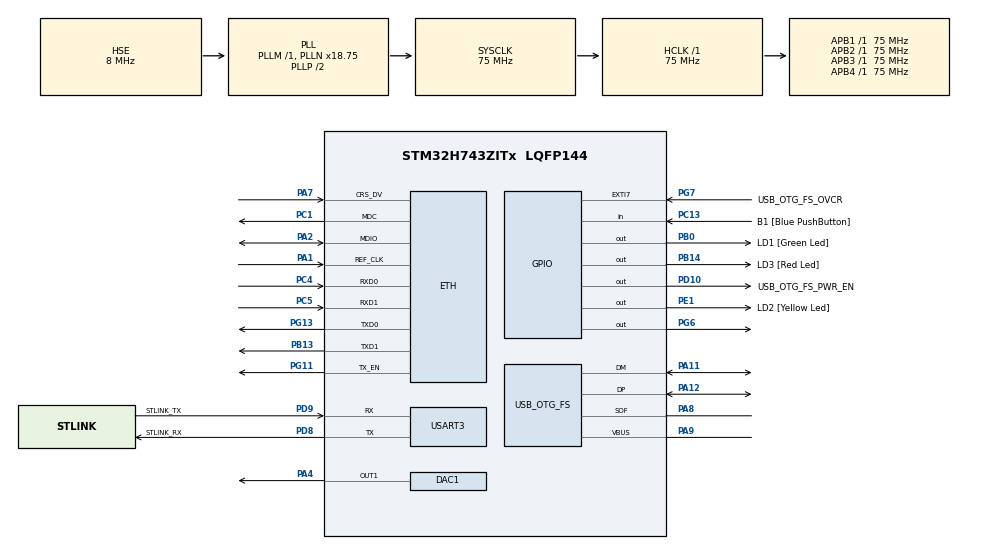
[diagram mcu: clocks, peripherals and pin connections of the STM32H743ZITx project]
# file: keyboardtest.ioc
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DAC1.DAC_Channel-DAC_OUT1=DAC_CHANNEL_1
DAC1.DAC_Trigger-DAC_OUT1=DAC_TRIGGER_T1_TRGO
Dma.DAC1_CH1.0.Direction=DMA_MEMORY_TO_PERIPH
Dma.DAC1_CH1.0.EventEnable=DISABLE
Dma.DAC1_CH1.0.FIFOMode=DMA_FIFOMODE_DISABLE
Dma.DAC1_CH1.0.Instance=DMA1_Stream0
Dma.DAC1_CH1.0.MemDataAlignment=DMA_MDATAALIGN_HALFWORD
Dma.DAC1_CH1.0.MemInc=DMA_MINC_ENABLE
Dma.DAC1_CH1.0.Mode=DMA_NORMAL
Dma.DAC1_CH1.0.PeriphDataAlignment=DMA_PDATAALIGN_HALFWORD
Dma.DAC1_CH1.0.PeriphInc=DMA_PINC_DISABLE
Dma.DAC1_CH1.0.Polarity=HAL_DMAMUX_REQ_GEN_RISING
Dma.DAC1_CH1.0.Priority=DMA_PRIORITY_LOW
Dma.DAC1_CH1.0.RequestNumber=1
Dma.DAC1_CH1.0.SignalID=NONE
Dma.DAC1_CH1.0.SyncEnable=DISABLE
Dma.DAC1_CH1.0.SyncPolarity=HAL_DMAMUX_SYNC_NO_EVENT
Dma.DAC1_CH1.0.SyncRequestNumber=1
Dma.DAC1_CH1.0.SyncSignalID=NONE
Dma.Request0=DAC1_CH1
ETH.MediaInterface=HAL_ETH_RMII_MODE
Mcu.Family=STM32H7
Mcu.Name=STM32H743ZITx
Mcu.Package=LQFP144
NVIC.DMA1_Stream0_IRQn=true\:0\:0\:false\:false\:true\:false\:true\:true
NVIC.OTG_FS_IRQn=true\:0\:0\:false\:false\:true\:true\:true\:true
NVIC.PriorityGroup=NVIC_PRIORITYGROUP_4
PA1.Mode=RMII
PA1.Signal=ETH_REF_CLK
PA11.Mode=Host_Only
PA11.Signal=USB_OTG_FS_DM
PA12.Mode=Host_Only
PA12.Signal=USB_OTG_FS_DP
PA2.Mode=RMII
PA2.Signal=ETH_MDIO
PA4.Signal=COMP_DAC11_group
PA7.Mode=RMII
PA7.Signal=ETH_CRS_DV
PA8.Mode=Activate_SOF_FS
PA8.Signal=USB_OTG_FS_SOF
PA9.Mode=Activate_VBUS
PA9.Signal=USB_OTG_FS_VBUS
PB0.GPIO_Label=LD1 [Green Led]
PB0.Signal=GPIO_Output
PB13.Mode=RMII
PB13.Signal=ETH_TXD1
PB14.GPIO_Label=LD3 [Red Led]
PB14.Signal=GPIO_Output
PC1.Mode=RMII
PC1.Signal=ETH_MDC
PC13.GPIO_Label=B1 [Blue PushButton]
PC13.Signal=GPIO_Input
PC14-OSC32_IN\ (OSC32_IN).Mode=LSE-External-Oscillator
PC14-OSC32_IN\ (OSC32_IN).Signal=RCC_OSC32_IN
PC15-OSC32_OUT\ (OSC32_OUT).Mode=LSE-External-Oscillator
PC15-OSC32_OUT\ (OSC32_OUT).Signal=RCC_OSC32_OUT
PC4.Mode=RMII
PC4.Signal=ETH_RXD0
PC5.Mode=RMII
PC5.Signal=ETH_RXD1
PD10.GPIO_Label=USB_OTG_FS_PWR_EN
PD10.Signal=GPIO_Output
PD8.GPIO_Label=STLINK_RX
PD8.Mode=Asynchronous
PD8.Signal=USART3_TX
PD9.GPIO_Label=STLINK_TX
PD9.Mode=Asynchronous
PD9.Signal=USART3_RX
PE1.GPIO_Label=LD2 [Yellow Led]
PE1.Signal=GPIO_Output
PG11.Mode=RMII
PG11.Signal=ETH_TX_EN
PG13.Mode=RMII
PG13.Signal=ETH_TXD0
PG6.Signal=GPIO_Output
PG7.GPIO_Label=USB_OTG_FS_OVCR
PG7.Signal=GPXTI7
PH0-OSC_IN\ (PH0).Mode=HSE-External-Clock-Source
PH0-OSC_IN\ (PH0).Signal=RCC_OSC_IN
PH1-OSC_OUT\ (PH1).Signal=RCC_OSC_OUT
ProjectManager.HeapSize=0x200
ProjectManager.StackSize=0x400
ProjectManager.TargetToolchain=STM32CubeIDE
RCC.ADCFreq_Value=16125000
RCC.APB1Freq_Value=75000000
RCC.APB2Freq_Value=75000000
RCC.APB3Freq_Value=75000000
RCC.APB4Freq_Value=75000000
RCC.CortexFreq_Value=75000000
RCC.DIVM1=1
RCC.DIVN1=18
RCC.DIVQ1=3
RCC.HCLKFreq_Value=75000000
RCC.HSE_VALUE=8000000
RCC.PLLFRACN=6144
RCC.PWR_Regulator_Voltage_Scale=PWR_REGULATOR_VOLTAGE_SCALE2
RCC.SYSCLKFreq_VALUE=75000000
RCC.SYSCLKSource=RCC_SYSCLKSOURCE_PLLCLK
RCC.USBFreq_Value=50000000
SH.COMP_DAC11_group.0=DAC1_OUT1,DAC_OUT1
TIM1.Period=1600-1
TIM1.TIM_MasterOutputTrigger=TIM_TRGO_UPDATE
USART3.VirtualMode-Asynchronous=VM_ASYNC
USB_HOST.BSP.number=1
USB_HOST.USBH_HandleTypeDef-HID_FS=hUsbHostFS
USB_HOST.VirtualModeFS=Hid
USB_HOST0.BSP.STBoard=false
USB_HOST0.BSP.api=Unknown
USB_HOST0.BSP.instance=PG6
USB_HOST0.BSP.ip=GPIO
USB_HOST0.BSP.mode=Output
USB_HOST0.BSP.name=Drive_VBUS_FS
USB_HOST0.BSP.solution=PG6
USB_OTG_FS.VirtualMode=Host_Only
USB_OTG_FS.phy_itface=HCD_PHY_EMBEDDED
VP_TIM1_VS_ClockSourceINT.Mode=Internal
VP_USB_HOST_VS_USB_HOST_HID_FS.Mode=HID_FS
board=NUCLEO-H743ZI2

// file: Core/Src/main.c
/* USER CODE BEGIN Header */
/**
  ******************************************************************************
  * @file           : main.c
  * @brief          : Main program body
  ******************************************************************************
  * @attention
  *
  * Copyright (c) 2023 STMicroelectronics.
  * All rights reserved.
  *
  * This software is licensed under terms that can be found in the LICENSE file
  * in the root directory of this software component.
  * If no LICENSE file comes with this software, it is provided AS-IS.
  *
  ******************************************************************************
  */
/* USER CODE END Header */
#include "main.h"
#include "string.h"
#include "usb_host.h"

/* USER CODE BEGIN Includes */
#include "usbh_hid.h"
#include "notes.h"
#include "keybd.h"
/* USER CODE END Includes */

#if defined ( __ICCARM__ ) /*!< IAR Compiler */
#pragma location=0x30000000
ETH_DMADescTypeDef  DMARxDscrTab[ETH_RX_DESC_CNT]; /* Ethernet Rx DMA Descriptors */
#pragma location=0x30000200
ETH_DMADescTypeDef  DMATxDscrTab[ETH_TX_DESC_CNT]; /* Ethernet Tx DMA Descriptors */

#elif defined ( __CC_ARM )  /* MDK ARM Compiler */

__attribute__((at(0x30000000))) ETH_DMADescTypeDef  DMARxDscrTab[ETH_RX_DESC_CNT]; /* Ethernet Rx DMA Descriptors */
__attribute__((at(0x30000200))) ETH_DMADescTypeDef  DMATxDscrTab[ETH_TX_DESC_CNT]; /* Ethernet Tx DMA Descriptors */

#elif defined ( __GNUC__ ) /* GNU Compiler */
ETH_DMADescTypeDef DMARxDscrTab[ETH_RX_DESC_CNT] __attribute__((section(".RxDecripSection"))); /* Ethernet Rx DMA Descriptors */
ETH_DMADescTypeDef DMATxDscrTab[ETH_TX_DESC_CNT] __attribute__((section(".TxDecripSection")));   /* Ethernet Tx DMA Descriptors */

#endif

ETH_TxPacketConfig TxConfig;

DAC_HandleTypeDef hdac1;
DMA_HandleTypeDef hdma_dac1_ch1;

ETH_HandleTypeDef heth;

TIM_HandleTypeDef htim1;

UART_HandleTypeDef huart3;

void SystemClock_Config(void);
static void MX_GPIO_Init(void);
static void MX_ETH_Init(void);
static void MX_USART3_UART_Init(void);
static void MX_DAC1_Init(void);
static void MX_DMA_Init(void);
static void MX_TIM1_Init(void);
void MX_USB_HOST_Process(void);

/* USER CODE BEGIN 0 */
#define SAMP_RATE 46875
#define DAC_BUF_SIZE 2048
#define WAVETABLE_SIZE 1874
#define SAMP_TIME 21.333333 //us

struct NOTE {
	float start;
	float end;
	float pitch;
};

extern int wavetable[WAVETABLE_SIZE];
int key_pressed = 0;
uint16_t DAC_buff[DAC_BUF_SIZE] ={};
char key_names[] = "zsxcfvgbnjmk,l./";
struct NOTE note_store[500];
int key_tracker[16] = {0};

uint16_t sine_test[64] = {
		2048,2248,2447,2642,2831,3013,3185,3346,
		3495,3630,3750,3853,3939,4007,4056,4085,
		4095,4085,4056,4007,3939,3853,3750,3630,
		3495,3346,3185,3013,2831,2642,2447,2248,
		2048,1847,1648,1453,1264,1082,910,749,
		600,465,345,242,156,88,39,10,
		0,10,39,88,156,242,345,465,
		600,749,910,1082,1264,1453,1648,1847};

void USBH_HID_EventCallback(USBH_HandleTypeDef *phost)
{
	uint8_t key;
	HID_KEYBD_Info_TypeDef *Keyboard_Info;
	Keyboard_Info = USBH_HID_GetKeybdInfo(phost);  // get the info
	key = USBH_HID_GetASCIICode(Keyboard_Info);  // get the key pressed
	get_all_keys(Keyboard_Info, key_tracker);
	//printf ("Key Pressed = %c\n", key);
	printf("Keys Pressed: \n");
	for(int i = 0; i < 16; i++){
			if(key_tracker[i] == 1){
				printf("%c ",key_names[i]);
			}
		}
		printf(" \n");
	for(int i = 0; i < 16; i++){
		printf("%i ",key_tracker[i]);
	}
	printf(" \n");
	for(int i = 0; i < 16; i++){
		if(key_tracker[i] == 1){
			key_pressed = 1;
			return;
		}
	}
	key_pressed=0;

}

int linear_interpolate(float index){
	int index_floor = floor(index);
	int index_next = (index_floor + 1) % WAVETABLE_SIZE;
	float index_next_weight = index - index_floor;
	float index_floor_weight = 1.0 - index_next_weight;

	return floor(index_floor_weight*wavetable[index_floor] + index_next_weight*wavetable[index_next]);
}

void fill_dac(){
	for(int i = 0; i < WAVETABLE_SIZE; i++){
		DAC_buff[i] = sine_test[i%64];
		if(key_pressed == 0){
			break;
		}
	}
}

void clear_dac(){
	memset(DAC_buff, 0, sizeof DAC_buff);
}
/* USER CODE END 0 */

int main(void)
{

  /* MCU Configuration--------------------------------------------------------*/

  /* Reset of all peripherals, Initializes the Flash interface and the Systick. */
  HAL_Init();

  /* Configure the system clock */
  SystemClock_Config();

  /* Initialize all configured peripherals */
  MX_GPIO_Init();
  MX_ETH_Init();
  MX_USART3_UART_Init();
  MX_USB_HOST_Init();
  MX_DAC1_Init();
  MX_DMA_Init();
  MX_TIM1_Init();
  /* USER CODE BEGIN 2 */
  printf("Hello world\n");
  HAL_TIM_Base_Start(&htim1);
  HAL_DAC_Start_DMA(&hdac1, DAC_CHANNEL_1, DAC_buff, DAC_BUF_SIZE, DAC_ALIGN_12B_R);
  /* USER CODE END 2 */

  /* Infinite loop */
  while (1)
  {
    MX_USB_HOST_Process();
//    switch(key_pressed){
//		case 0:
//			clear_dac();
//			break;
//		case 1:
//			fill_dac();
//			break;
//    }
  }
}

void SystemClock_Config(void)
{
  RCC_OscInitTypeDef RCC_OscInitStruct = {0};
  RCC_ClkInitTypeDef RCC_ClkInitStruct = {0};

  /** Supply configuration update enable
  */
  HAL_PWREx_ConfigSupply(PWR_LDO_SUPPLY);

  /** Configure the main internal regulator output voltage
  */
  __HAL_PWR_VOLTAGESCALING_CONFIG(PWR_REGULATOR_VOLTAGE_SCALE2);

  while(!__HAL_PWR_GET_FLAG(PWR_FLAG_VOSRDY)) {}

  /** Initializes the RCC Oscillators according to the specified parameters
  * in the RCC_OscInitTypeDef structure.
  */
  RCC_OscInitStruct.OscillatorType = RCC_OSCILLATORTYPE_HSE;
  RCC_OscInitStruct.HSEState = RCC_HSE_BYPASS;
  RCC_OscInitStruct.PLL.PLLState = RCC_PLL_ON;
  RCC_OscInitStruct.PLL.PLLSource = RCC_PLLSOURCE_HSE;
  RCC_OscInitStruct.PLL.PLLM = 1;
  RCC_OscInitStruct.PLL.PLLN = 18;
  RCC_OscInitStruct.PLL.PLLP = 2;
  RCC_OscInitStruct.PLL.PLLQ = 3;
  RCC_OscInitStruct.PLL.PLLR = 2;
  RCC_OscInitStruct.PLL.PLLRGE = RCC_PLL1VCIRANGE_3;
  RCC_OscInitStruct.PLL.PLLVCOSEL = RCC_PLL1VCOMEDIUM;
  RCC_OscInitStruct.PLL.PLLFRACN = 6144;
  if (HAL_RCC_OscConfig(&RCC_OscInitStruct) != HAL_OK)
  {
    Error_Handler();
  }

  /** Initializes the CPU, AHB and APB buses clocks
  */
  RCC_ClkInitStruct.ClockType = RCC_CLOCKTYPE_HCLK|RCC_CLOCKTYPE_SYSCLK
                              |RCC_CLOCKTYPE_PCLK1|RCC_CLOCKTYPE_PCLK2
                              |RCC_CLOCKTYPE_D3PCLK1|RCC_CLOCKTYPE_D1PCLK1;
  RCC_ClkInitStruct.SYSCLKSource = RCC_SYSCLKSOURCE_PLLCLK;
  RCC_ClkInitStruct.SYSCLKDivider = RCC_SYSCLK_DIV1;
  RCC_ClkInitStruct.AHBCLKDivider = RCC_HCLK_DIV1;
  RCC_ClkInitStruct.APB3CLKDivider = RCC_APB3_DIV1;
  RCC_ClkInitStruct.APB1CLKDivider = RCC_APB1_DIV1;
  RCC_ClkInitStruct.APB2CLKDivider = RCC_APB2_DIV1;
  RCC_ClkInitStruct.APB4CLKDivider = RCC_APB4_DIV1;

  if (HAL_RCC_ClockConfig(&RCC_ClkInitStruct, FLASH_LATENCY_1) != HAL_OK)
  {
    Error_Handler();
  }
}

static void MX_DAC1_Init(void)
{

  DAC_ChannelConfTypeDef sConfig = {0};

  /** DAC Initialization
  */
  hdac1.Instance = DAC1;
  if (HAL_DAC_Init(&hdac1) != HAL_OK)
  {
    Error_Handler();
  }

  /** DAC channel OUT1 config
  */
  sConfig.DAC_SampleAndHold = DAC_SAMPLEANDHOLD_DISABLE;
  sConfig.DAC_Trigger = DAC_TRIGGER_T1_TRGO;
  sConfig.DAC_OutputBuffer = DAC_OUTPUTBUFFER_ENABLE;
  sConfig.DAC_ConnectOnChipPeripheral = DAC_CHIPCONNECT_DISABLE;
  sConfig.DAC_UserTrimming = DAC_TRIMMING_FACTORY;
  if (HAL_DAC_ConfigChannel(&hdac1, &sConfig, DAC_CHANNEL_1) != HAL_OK)
  {
    Error_Handler();
  }

}

static void MX_ETH_Init(void)
{

   static uint8_t MACAddr[6];

  heth.Instance = ETH;
  MACAddr[0] = 0x00;
  MACAddr[1] = 0x80;
  MACAddr[2] = 0xE1;
  MACAddr[3] = 0x00;
  MACAddr[4] = 0x00;
  MACAddr[5] = 0x00;
  heth.Init.MACAddr = &MACAddr[0];
  heth.Init.MediaInterface = HAL_ETH_RMII_MODE;
  heth.Init.TxDesc = DMATxDscrTab;
  heth.Init.RxDesc = DMARxDscrTab;
  heth.Init.RxBuffLen = 1524;

  if (HAL_ETH_Init(&heth) != HAL_OK)
  {
    Error_Handler();
  }

  memset(&TxConfig, 0 , sizeof(ETH_TxPacketConfig));
  TxConfig.Attributes = ETH_TX_PACKETS_FEATURES_CSUM | ETH_TX_PACKETS_FEATURES_CRCPAD;
  TxConfig.ChecksumCtrl = ETH_CHECKSUM_IPHDR_PAYLOAD_INSERT_PHDR_CALC;
  TxConfig.CRCPadCtrl = ETH_CRC_PAD_INSERT;

}

static void MX_TIM1_Init(void)
{

  TIM_ClockConfigTypeDef sClockSourceConfig = {0};
  TIM_MasterConfigTypeDef sMasterConfig = {0};

  htim1.Instance = TIM1;
  htim1.Init.Prescaler = 0;
  htim1.Init.CounterMode = TIM_COUNTERMODE_UP;
  htim1.Init.Period = 1600-1;
  htim1.Init.ClockDivision = TIM_CLOCKDIVISION_DIV1;
  htim1.Init.RepetitionCounter = 0;
  htim1.Init.AutoReloadPreload = TIM_AUTORELOAD_PRELOAD_DISABLE;
  if (HAL_TIM_Base_Init(&htim1) != HAL_OK)
  {
    Error_Handler();
  }
  sClockSourceConfig.ClockSource = TIM_CLOCKSOURCE_INTERNAL;
  if (HAL_TIM_ConfigClockSource(&htim1, &sClockSourceConfig) != HAL_OK)
  {
    Error_Handler();
  }
  sMasterConfig.MasterOutputTrigger = TIM_TRGO_UPDATE;
  sMasterConfig.MasterOutputTrigger2 = TIM_TRGO2_RESET;
  sMasterConfig.MasterSlaveMode = TIM_MASTERSLAVEMODE_DISABLE;
  if (HAL_TIMEx_MasterConfigSynchronization(&htim1, &sMasterConfig) != HAL_OK)
  {
    Error_Handler();
  }

}

static void MX_USART3_UART_Init(void)
{

  huart3.Instance = USART3;
  huart3.Init.BaudRate = 115200;
  huart3.Init.WordLength = UART_WORDLENGTH_8B;
  huart3.Init.StopBits = UART_STOPBITS_1;
  huart3.Init.Parity = UART_PARITY_NONE;
  huart3.Init.Mode = UART_MODE_TX_RX;
  huart3.Init.HwFlowCtl = UART_HWCONTROL_NONE;
  huart3.Init.OverSampling = UART_OVERSAMPLING_16;
  huart3.Init.OneBitSampling = UART_ONE_BIT_SAMPLE_DISABLE;
  huart3.Init.ClockPrescaler = UART_PRESCALER_DIV1;
  huart3.AdvancedInit.AdvFeatureInit = UART_ADVFEATURE_NO_INIT;
  if (HAL_UART_Init(&huart3) != HAL_OK)
  {
    Error_Handler();
  }
  if (HAL_UARTEx_SetTxFifoThreshold(&huart3, UART_TXFIFO_THRESHOLD_1_8) != HAL_OK)
  {
    Error_Handler();
  }
  if (HAL_UARTEx_SetRxFifoThreshold(&huart3, UART_RXFIFO_THRESHOLD_1_8) != HAL_OK)
  {
    Error_Handler();
  }
  if (HAL_UARTEx_DisableFifoMode(&huart3) != HAL_OK)
  {
    Error_Handler();
  }

}

static void MX_DMA_Init(void)
{

  /* DMA controller clock enable */
  __HAL_RCC_DMA1_CLK_ENABLE();

  /* DMA interrupt init */
  /* DMA1_Stream0_IRQn interrupt configuration */
  HAL_NVIC_SetPriority(DMA1_Stream0_IRQn, 0, 0);
  HAL_NVIC_EnableIRQ(DMA1_Stream0_IRQn);

}

static void MX_GPIO_Init(void)
{
  GPIO_InitTypeDef GPIO_InitStruct = {0};

  /* GPIO Ports Clock Enable */
  __HAL_RCC_GPIOC_CLK_ENABLE();
  __HAL_RCC_GPIOH_CLK_ENABLE();
  __HAL_RCC_GPIOA_CLK_ENABLE();
  __HAL_RCC_GPIOB_CLK_ENABLE();
  __HAL_RCC_GPIOD_CLK_ENABLE();
  __HAL_RCC_GPIOG_CLK_ENABLE();
  __HAL_RCC_GPIOE_CLK_ENABLE();

  /*Configure GPIO pin Output Level */
  HAL_GPIO_WritePin(GPIOB, LD1_Pin|LD3_Pin, GPIO_PIN_RESET);

  /*Configure GPIO pin Output Level */
  HAL_GPIO_WritePin(USB_OTG_FS_PWR_EN_GPIO_Port, USB_OTG_FS_PWR_EN_Pin, GPIO_PIN_RESET);

  /*Configure GPIO pin Output Level */
  HAL_GPIO_WritePin(GPIOG, GPIO_PIN_6, GPIO_PIN_RESET);

  /*Configure GPIO pin Output Level */
  HAL_GPIO_WritePin(LD2_GPIO_Port, LD2_Pin, GPIO_PIN_RESET);

  /*Configure GPIO pin : B1_Pin */
  GPIO_InitStruct.Pin = B1_Pin;
  GPIO_InitStruct.Mode = GPIO_MODE_INPUT;
  GPIO_InitStruct.Pull = GPIO_NOPULL;
  HAL_GPIO_Init(B1_GPIO_Port, &GPIO_InitStruct);

  /*Configure GPIO pins : LD1_Pin LD3_Pin */
  GPIO_InitStruct.Pin = LD1_Pin|LD3_Pin;
  GPIO_InitStruct.Mode = GPIO_MODE_OUTPUT_PP;
  GPIO_InitStruct.Pull = GPIO_NOPULL;
  GPIO_InitStruct.Speed = GPIO_SPEED_FREQ_LOW;
  HAL_GPIO_Init(GPIOB, &GPIO_InitStruct);

  /*Configure GPIO pin : USB_OTG_FS_PWR_EN_Pin */
  GPIO_InitStruct.Pin = USB_OTG_FS_PWR_EN_Pin;
  GPIO_InitStruct.Mode = GPIO_MODE_OUTPUT_PP;
  GPIO_InitStruct.Pull = GPIO_NOPULL;
  GPIO_InitStruct.Speed = GPIO_SPEED_FREQ_LOW;
  HAL_GPIO_Init(USB_OTG_FS_PWR_EN_GPIO_Port, &GPIO_InitStruct);

  /*Configure GPIO pin : PG6 */
  GPIO_InitStruct.Pin = GPIO_PIN_6;
  GPIO_InitStruct.Mode = GPIO_MODE_OUTPUT_PP;
  GPIO_InitStruct.Pull = GPIO_NOPULL;
  GPIO_InitStruct.Speed = GPIO_SPEED_FREQ_LOW;
  HAL_GPIO_Init(GPIOG, &GPIO_InitStruct);

  /*Configure GPIO pin : USB_OTG_FS_OVCR_Pin */
  GPIO_InitStruct.Pin = USB_OTG_FS_OVCR_Pin;
  GPIO_InitStruct.Mode = GPIO_MODE_IT_RISING;
  GPIO_InitStruct.Pull = GPIO_NOPULL;
  HAL_GPIO_Init(USB_OTG_FS_OVCR_GPIO_Port, &GPIO_InitStruct);

  /*Configure GPIO pin : LD2_Pin */
  GPIO_InitStruct.Pin = LD2_Pin;
  GPIO_InitStruct.Mode = GPIO_MODE_OUTPUT_PP;
  GPIO_InitStruct.Pull = GPIO_NOPULL;
  GPIO_InitStruct.Speed = GPIO_SPEED_FREQ_LOW;
  HAL_GPIO_Init(LD2_GPIO_Port, &GPIO_InitStruct);

}

/* USER CODE BEGIN 4 */
int _write(int file, char *ptr, int len){
	int i = 0;
	for(i=0; i < len;i++){
		ITM_SendChar((*ptr++));
	}
	return len;
}
/* USER CODE END 4 */

void Error_Handler(void)
{
  /* USER CODE BEGIN Error_Handler_Debug */
  /* User can add his own implementation to report the HAL error return state */
  __disable_irq();
  printf("ERROR\n");
  while (1)
  {
  }
  /* USER CODE END Error_Handler_Debug */
}
